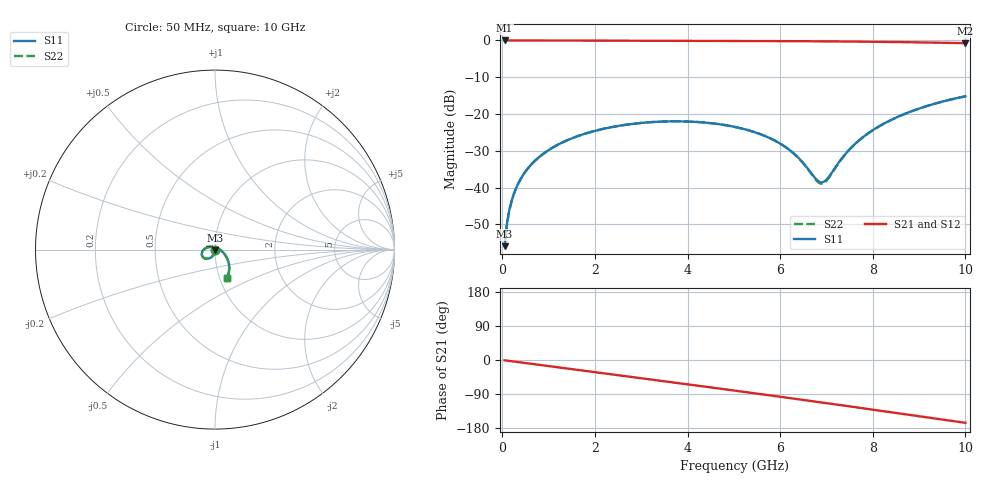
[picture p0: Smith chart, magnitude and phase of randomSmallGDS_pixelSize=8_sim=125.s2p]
! freq	dB(S11)	phase(S11)	dB(S12)	phase(S12)
!  dB(S21)	phase(S21)	dB(S22)	phase(S22)
!S-par simulation data
#  GHz  S  DB  R 50
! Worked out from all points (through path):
!   200 points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, 50 MHz to 10 GHz, reference 50 ohm
!   highest |S21| = 0.00 dB at 50 MHz (marker M1); lowest = -0.7 dB at 10 GHz (marker M2)
!   group delay of S21, straight-line fit = 45.9 ps
!   lowest |S11| = -55.9 dB at 50 MHz (marker M3), VSWR 1.00, Z = 50 - j0.16 ohm
!   |S11| at or under -10 dB: start of sweep to end of sweep
!   |S22| runs from -55.9 to -15.2 dB; largest |S21 - S12| = 0
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0.05  -55.94 -91.1  -0.00 -0.8  -0.00 -0.8  -55.93 -91.1
0.1  -49.84 -92.7  -0.00 -1.6  -0.00 -1.6  -49.84 -92.6
0.2  -43.69 -94.6  -0.00 -3.2  -0.00 -3.2  -43.69 -94.6
0.35  -38.76 -96.9  -0.00 -5.7  -0.00 -5.7  -38.76 -96.9
0.5  -35.66 -99.2  -0.01 -8.1  -0.01 -8.1  -35.66 -99.2
0.7  -32.78 -102.4  -0.01 -11.3  -0.01 -11.3  -32.78 -102.4
1  -29.81 -107.3  -0.02 -16.1  -0.02 -16.1  -29.81 -107.3
1.75  -25.49 -119.6  -0.04 -28.1  -0.04 -28.1  -25.49 -119.6
2.5  -23.25 -132.0  -0.06 -40.1  -0.06 -40.1  -23.25 -131.9
3.4  -22.08 -147.0  -0.09 -54.5  -0.09 -54.5  -22.08 -146.9
4.25  -22.20 -161.7  -0.11 -68.2  -0.11 -68.2  -22.20 -161.6
5.05  -23.58 -176.8  -0.14 -81.3  -0.14 -81.3  -23.59 -176.6
5.6  -25.61 171.2  -0.16 -90.3  -0.16 -90.3  -25.61 171.5
6.05  -28.42 158.5  -0.18 -97.8  -0.18 -97.8  -28.44 159.1
6.4  -31.98 142.9  -0.20 -103.7  -0.20 -103.7  -32.03 143.7
6.7  -36.56 113.4  -0.22 -108.7  -0.22 -108.7  -36.75 114.6
6.85  -38.48 83.3  -0.23 -111.3  -0.23 -111.3  -38.79 83.8
6.95  -38.41 58.5  -0.24 -113.0  -0.24 -113.0  -38.74 58.1
7.6  -28.33 -12.3  -0.30 -124.1  -0.30 -124.1  -28.37 -13.0
8.35  -21.89 -34.5  -0.40 -137.1  -0.40 -137.1  -21.90 -34.9
9.1  -18.10 -50.4  -0.54 -150.1  -0.54 -150.1  -18.11 -50.7
10  -15.19 -67.3  -0.74 -165.8  -0.74 -165.8  -15.19 -67.5
